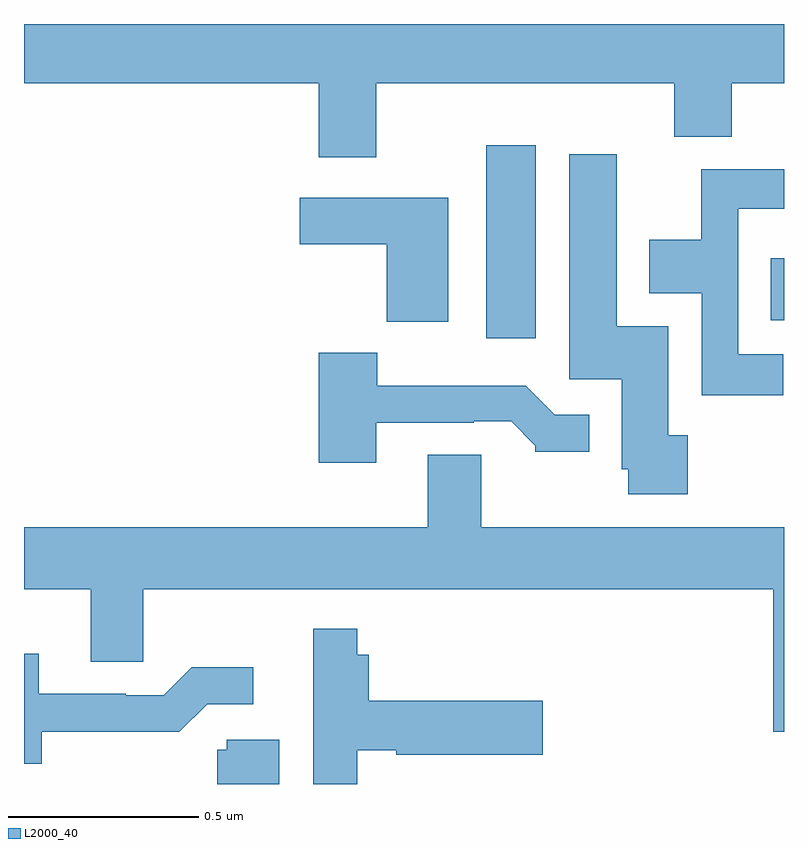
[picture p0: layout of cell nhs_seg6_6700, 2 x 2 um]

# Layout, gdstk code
import gdstk
lib = gdstk.Library(unit=1e-6, precision=1e-09)
def R(c, l, rs):  # rectangles x0, y0, x1, y1
    for r in rs: c.add(gdstk.rectangle(r[:2], r[2:], *l))
def P(c, l, *ps):  # polygons
    for p in ps: c.add(gdstk.Polygon(p, *l))
L2000_40 = (2000, 40)

nhs_seg6_6700 = lib.new_cell('nhs_seg6_6700')
R(nhs_seg6_6700, L2000_40, [(200.216,938.673,200.347,939.181), (200.965,938.72,201,938.884)])
P(nhs_seg6_6700, L2000_40, [(199.927,939.344),(200.711,939.344),(200.711,939.203),(200.863,939.203),(200.863,939.344),(201,939.344),(201,939.5),(199,939.5),(199,939.344),(199.775,939.344),(199.775,939.15),(199.927,939.15)],
  [(200.747,938.418),(200.695,938.418),(200.695,938.704),(200.56,938.704),(200.56,939.157),(200.435,939.157),(200.435,938.565),(200.573,938.565),(200.573,938.328),(200.59,938.328),(200.59,938.262),(200.747,938.262)],
  [(200.998,938.631),(200.88,938.631),(200.88,939.014),(201,939.014),(201,939.118),(200.782,939.118),(200.782,938.932),(200.645,938.932),(200.645,938.792),(200.784,938.792),(200.784,938.523),(200.998,938.523)],
  [(200.116,939.043),(199.725,939.043),(199.725,938.921),(199.954,938.921),(199.954,938.717),(200.116,938.717)],
  [(199.927,938.451),(200.183,938.451),(200.183,938.454),(200.282,938.454),(200.346,938.39),(200.346,938.375),(200.488,938.375),(200.488,938.472),(200.397,938.472),(200.321,938.548),(199.93,938.548),(199.93,938.635),(199.775,938.635),(199.775,938.346),(199.927,938.346)],
  [(201,938.176),(200.203,938.176),(200.203,938.366),(200.063,938.366),(200.063,938.176),(199,938.176),(199,938.012),(199.175,938.012),(199.175,937.822),(199.314,937.822),(199.314,938.012),(200.972,938.012),(200.972,937.638),(201,937.638)],
  [(199.877,937.589),(199.98,937.589),(199.98,937.577),(200.365,937.577),(200.365,937.719),(199.907,937.719),(199.907,937.84),(199.877,937.84),(199.877,937.909),(199.761,937.909),(199.761,937.5),(199.877,937.5)],
  [(199.047,937.638),(199.31,937.638),(199.31,937.637),(199.409,937.637),(199.482,937.71),(199.603,937.71),(199.603,937.807),(199.441,937.807),(199.368,937.734),(199.268,937.734),(199.268,937.737),(199.039,937.737),(199.039,937.843),(199,937.843),(199,937.553),(199.047,937.553)],
  [(199.672,937.617),(199.533,937.617),(199.533,937.59),(199.508,937.59),(199.508,937.5),(199.672,937.5)])

lib.write_gds('nhs_seg6_6700.gds')
